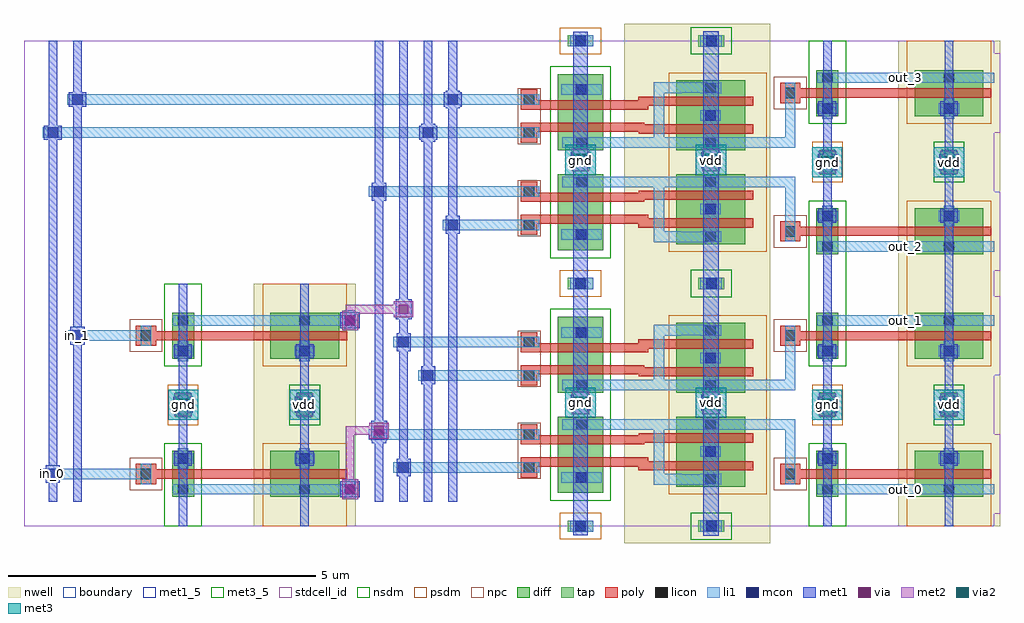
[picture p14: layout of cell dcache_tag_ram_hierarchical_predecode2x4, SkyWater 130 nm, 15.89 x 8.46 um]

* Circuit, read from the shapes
.subckt dcache_tag_ram_hierarchical_predecode2x4 gnd in_0 in_1 out_0 out_1 out_2 out_3 vdd
XM1 gnd in_0 dcache_tag_ram_and2_dec_2/A gnd sky130_fd_pr__nfet_01v8 w=0.36 l=0.15
XM2 dcache_tag_ram_and2_dec_2/B in_1 gnd gnd sky130_fd_pr__nfet_01v8 w=0.36 l=0.15
XM3 n1 dcache_tag_ram_and2_dec_2/B gnd gnd sky130_fd_pr__nfet_01v8 w=0.74 l=0.15
XM4 dcache_tag_ram_and2_dec_2/dcache_tag_ram_pinv_dec_1/A dcache_tag_ram_and2_dec_2/A n1 gnd sky130_fd_pr__nfet_01v8 w=0.74 l=0.15
XM5 n2 in_0 dcache_tag_ram_and2_dec_3/dcache_tag_ram_pinv_dec_1/A gnd sky130_fd_pr__nfet_01v8 w=0.74 l=0.15
XM6 gnd dcache_tag_ram_and2_dec_2/B n2 gnd sky130_fd_pr__nfet_01v8 w=0.74 l=0.15
XM7 n3 in_1 gnd gnd sky130_fd_pr__nfet_01v8 w=0.74 l=0.15
XM8 dcache_tag_ram_and2_dec_4/dcache_tag_ram_pinv_dec_1/A dcache_tag_ram_and2_dec_2/A n3 gnd sky130_fd_pr__nfet_01v8 w=0.74 l=0.15
XM9 n4 in_0 dcache_tag_ram_and2_dec_5/dcache_tag_ram_pinv_dec_1/A gnd sky130_fd_pr__nfet_01v8 w=0.74 l=0.15
XM10 gnd in_1 n4 gnd sky130_fd_pr__nfet_01v8 w=0.74 l=0.15
XM11 gnd dcache_tag_ram_and2_dec_2/dcache_tag_ram_pinv_dec_1/A out_0 gnd sky130_fd_pr__nfet_01v8 w=0.36 l=0.15
XM12 out_1 dcache_tag_ram_and2_dec_3/dcache_tag_ram_pinv_dec_1/A gnd gnd sky130_fd_pr__nfet_01v8 w=0.36 l=0.15
XM13 gnd dcache_tag_ram_and2_dec_4/dcache_tag_ram_pinv_dec_1/A out_2 gnd sky130_fd_pr__nfet_01v8 w=0.36 l=0.15
XM14 out_3 dcache_tag_ram_and2_dec_5/dcache_tag_ram_pinv_dec_1/A gnd gnd sky130_fd_pr__nfet_01v8 w=0.36 l=0.15
XM15 vdd in_0 dcache_tag_ram_and2_dec_2/A vdd sky130_fd_pr__pfet_01v8 w=1.12 l=0.15
XM16 dcache_tag_ram_and2_dec_2/B in_1 vdd vdd sky130_fd_pr__pfet_01v8 w=1.12 l=0.15
XM17 vdd dcache_tag_ram_and2_dec_2/B dcache_tag_ram_and2_dec_2/dcache_tag_ram_pinv_dec_1/A vdd sky130_fd_pr__pfet_01v8 w=1.12 l=0.15
XM18 dcache_tag_ram_and2_dec_2/dcache_tag_ram_pinv_dec_1/A dcache_tag_ram_and2_dec_2/A vdd vdd sky130_fd_pr__pfet_01v8 w=1.12 l=0.15
XM19 vdd in_0 dcache_tag_ram_and2_dec_3/dcache_tag_ram_pinv_dec_1/A vdd sky130_fd_pr__pfet_01v8 w=1.12 l=0.15
XM20 dcache_tag_ram_and2_dec_3/dcache_tag_ram_pinv_dec_1/A dcache_tag_ram_and2_dec_2/B vdd vdd sky130_fd_pr__pfet_01v8 w=1.12 l=0.15
XM21 vdd in_1 dcache_tag_ram_and2_dec_4/dcache_tag_ram_pinv_dec_1/A vdd sky130_fd_pr__pfet_01v8 w=1.12 l=0.15
XM22 dcache_tag_ram_and2_dec_4/dcache_tag_ram_pinv_dec_1/A dcache_tag_ram_and2_dec_2/A vdd vdd sky130_fd_pr__pfet_01v8 w=1.12 l=0.15
XM23 vdd in_0 dcache_tag_ram_and2_dec_5/dcache_tag_ram_pinv_dec_1/A vdd sky130_fd_pr__pfet_01v8 w=1.12 l=0.15
XM24 dcache_tag_ram_and2_dec_5/dcache_tag_ram_pinv_dec_1/A in_1 vdd vdd sky130_fd_pr__pfet_01v8 w=1.12 l=0.15
XM25 vdd dcache_tag_ram_and2_dec_2/dcache_tag_ram_pinv_dec_1/A out_0 vdd sky130_fd_pr__pfet_01v8 w=1.12 l=0.15
XM26 out_1 dcache_tag_ram_and2_dec_3/dcache_tag_ram_pinv_dec_1/A vdd vdd sky130_fd_pr__pfet_01v8 w=1.12 l=0.15
XM27 vdd dcache_tag_ram_and2_dec_4/dcache_tag_ram_pinv_dec_1/A out_2 vdd sky130_fd_pr__pfet_01v8 w=1.12 l=0.15
XM28 out_3 dcache_tag_ram_and2_dec_5/dcache_tag_ram_pinv_dec_1/A vdd vdd sky130_fd_pr__pfet_01v8 w=1.12 l=0.15
.ends

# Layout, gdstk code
from math import pi, radians
import gdstk
lib = gdstk.Library(unit=1e-6, precision=1e-09)
def R(c, l, rs):  # rectangles x0, y0, x1, y1
    for r in rs: c.add(gdstk.rectangle(r[:2], r[2:], *l))
def A(c, l, x, y, w, h, nx, ny, dx, dy):  # array of equal rectangles
    R(c, l, [(x+i*dx, y+j*dy, x+i*dx+w, y+j*dy+h) for i in range(nx) for j in range(ny)])
nwell = (64, 20)
diff = (65, 20)
tap = (65, 44)
poly = (66, 20)
licon = (66, 44)
li1 = (67, 20)
mcon = (67, 44)
met1_5 = (68, 5)
met1 = (68, 20)
via = (68, 44)
met2 = (69, 20)
via2 = (69, 44)
met3_5 = (70, 5)
met3 = (70, 20)
stdcell_id = (81, 4)
nsdm = (93, 44)
psdm = (94, 20)
npc = (95, 20)
boundary = (235, 4)

dcache_tag_ram_contact_1 = lib.new_cell('dcache_tag_ram_contact_11')
R(dcache_tag_ram_contact_1, nwell, [(-0.295,-0.255,0.545,0.585)])
R(dcache_tag_ram_contact_1, diff, [(0,0.02,0.25,0.31)])
R(dcache_tag_ram_contact_1, licon, [(0.04,0.08,0.21,0.25)])
R(dcache_tag_ram_contact_1, li1, [(0.04,0,0.21,0.33)])
R(dcache_tag_ram_contact_1, stdcell_id, [(-0.295,-0.255,0.545,0.585)])
R(dcache_tag_ram_contact_1, psdm, [(-0.125,-0.105,0.375,0.435)])
R(dcache_tag_ram_contact_1, boundary, [(-0.295,-0.255,0.545,0.585)])

dcache_tag_ram_pmos_m1_w = lib.new_cell('dcache_tag_ram_pmos_m1_w1_120_sli_dli_da_p')
R(dcache_tag_ram_pmos_m1_w, nwell, [(-0.27,-0.27,1.02,1.39)])
R(dcache_tag_ram_pmos_m1_w, diff, [(0,0,0.75,1.12)])
R(dcache_tag_ram_pmos_m1_w, poly, [(0.3,-0.13,0.45,1.25), (0.3,-0.13,0.45,1.25)])
R(dcache_tag_ram_pmos_m1_w, li1, [(0.04,0.395,0.21,0.725), (0.54,0.395,0.71,0.725)])
R(dcache_tag_ram_pmos_m1_w, stdcell_id, [(-0.27,-0.27,1.02,1.39)])
R(dcache_tag_ram_pmos_m1_w, psdm, [(-0.125,-0.125,0.875,1.245)])
R(dcache_tag_ram_pmos_m1_w, boundary, [(-0.27,-0.27,1.02,1.39)])
dcache_tag_ram_pmos_m1_w.add(gdstk.Reference(dcache_tag_ram_contact_1, (0,0.395)))
dcache_tag_ram_pmos_m1_w.add(gdstk.Reference(dcache_tag_ram_contact_1, (0.5,0.395)))
dcache_tag_ram_pmos_m1_w.add(gdstk.Label('G', (0.375,0.56), layer=66, texttype=5))
dcache_tag_ram_pmos_m1_w.add(gdstk.Label('S', (0.125,0.56), layer=67, texttype=5))
dcache_tag_ram_pmos_m1_w.add(gdstk.Label('D', (0.625,0.56), layer=67, texttype=5))

c_dcache_tag_ram_contact_1 = lib.new_cell('dcache_tag_ram_contact_10')
R(c_dcache_tag_ram_contact_1, diff, [(0,0.02,0.25,0.31)])
R(c_dcache_tag_ram_contact_1, licon, [(0.04,0.08,0.21,0.25)])
R(c_dcache_tag_ram_contact_1, li1, [(0.04,0,0.21,0.33)])
R(c_dcache_tag_ram_contact_1, stdcell_id, [(-0.125,-0.105,0.375,0.435)])
R(c_dcache_tag_ram_contact_1, nsdm, [(-0.125,-0.105,0.375,0.435)])
R(c_dcache_tag_ram_contact_1, boundary, [(-0.125,-0.105,0.375,0.435)])

dcache_tag_ram_nmos_m1_w = lib.new_cell('dcache_tag_ram_nmos_m1_w0_360_sli_dli_da_p')
R(dcache_tag_ram_nmos_m1_w, diff, [(0,0,0.75,0.36)])
R(dcache_tag_ram_nmos_m1_w, poly, [(0.3,-0.13,0.45,0.49), (0.3,-0.13,0.45,0.49)])
R(dcache_tag_ram_nmos_m1_w, li1, [(0.04,0.015,0.21,0.345), (0.54,0.015,0.71,0.345)])
R(dcache_tag_ram_nmos_m1_w, stdcell_id, [(-0.125,-0.13,0.875,0.49)])
R(dcache_tag_ram_nmos_m1_w, nsdm, [(-0.125,-0.125,0.875,0.485)])
R(dcache_tag_ram_nmos_m1_w, boundary, [(-0.125,-0.13,0.875,0.49)])
dcache_tag_ram_nmos_m1_w.add(gdstk.Reference(c_dcache_tag_ram_contact_1, (0,0.015)))
dcache_tag_ram_nmos_m1_w.add(gdstk.Reference(c_dcache_tag_ram_contact_1, (0.5,0.015)))
dcache_tag_ram_nmos_m1_w.add(gdstk.Label('G', (0.375,0.18), layer=66, texttype=5))
dcache_tag_ram_nmos_m1_w.add(gdstk.Label('S', (0.125,0.18), layer=67, texttype=5))
dcache_tag_ram_nmos_m1_w.add(gdstk.Label('D', (0.625,0.18), layer=67, texttype=5))

c_dcache_tag_ram_contact_1_ = lib.new_cell('dcache_tag_ram_contact_12')
R(c_dcache_tag_ram_contact_1_, nwell, [(-0.295,-0.215,0.545,0.625)])
R(c_dcache_tag_ram_contact_1_, tap, [(0,0,0.25,0.41)])
R(c_dcache_tag_ram_contact_1_, licon, [(0.04,0.12,0.21,0.29)])
R(c_dcache_tag_ram_contact_1_, li1, [(0.04,0.04,0.21,0.37)])
R(c_dcache_tag_ram_contact_1_, stdcell_id, [(-0.295,-0.215,0.545,0.625)])
R(c_dcache_tag_ram_contact_1_, nsdm, [(-0.125,-0.125,0.375,0.535)])
R(c_dcache_tag_ram_contact_1_, boundary, [(-0.295,-0.215,0.545,0.625)])

c_dcache_tag_ram_contact_1__ = lib.new_cell('dcache_tag_ram_contact_13')
R(c_dcache_tag_ram_contact_1__, li1, [(0.06,0,0.23,0.33)])
R(c_dcache_tag_ram_contact_1__, mcon, [(0.06,0.08,0.23,0.25)])
R(c_dcache_tag_ram_contact_1__, met1, [(0,0.05,0.29,0.28)])
R(c_dcache_tag_ram_contact_1__, stdcell_id, [(0,0,0.29,0.33)])
R(c_dcache_tag_ram_contact_1__, boundary, [(0,0,0.29,0.33)])

c_dcache_tag_ram_contact_1___ = lib.new_cell('dcache_tag_ram_contact_14')
R(c_dcache_tag_ram_contact_1___, tap, [(0,0,0.25,0.41)])
R(c_dcache_tag_ram_contact_1___, licon, [(0.04,0.12,0.21,0.29)])
R(c_dcache_tag_ram_contact_1___, li1, [(0.04,0.04,0.21,0.37)])
R(c_dcache_tag_ram_contact_1___, stdcell_id, [(-0.125,-0.125,0.375,0.535)])
R(c_dcache_tag_ram_contact_1___, psdm, [(-0.125,-0.125,0.375,0.535)])
R(c_dcache_tag_ram_contact_1___, boundary, [(-0.125,-0.125,0.375,0.535)])

c_dcache_tag_ram_contact_1____ = lib.new_cell('dcache_tag_ram_contact_15')
R(c_dcache_tag_ram_contact_1____, poly, [(0,0,0.33,0.33)])
R(c_dcache_tag_ram_contact_1____, licon, [(0.08,0.08,0.25,0.25)])
R(c_dcache_tag_ram_contact_1____, li1, [(0.08,0,0.25,0.33)])
R(c_dcache_tag_ram_contact_1____, stdcell_id, [(-0.1,-0.1,0.43,0.43)])
R(c_dcache_tag_ram_contact_1____, npc, [(-0.1,-0.1,0.43,0.43)])
R(c_dcache_tag_ram_contact_1____, boundary, [(-0.1,-0.1,0.43,0.43)])

dcache_tag_ram_pinv_dec = lib.new_cell('dcache_tag_ram_pinv_dec')
R(dcache_tag_ram_pinv_dec, nwell, [(2.14,0,3.8,2.45)])
R(dcache_tag_ram_pinv_dec, poly, [(0.385,0.775,0.68,0.925), (1.3,0.775,2.28,0.925)])
R(dcache_tag_ram_pinv_dec, li1, [(0.825,0.515,3.71,0.685), (0.3,0.685,0.47,1.015)])
R(dcache_tag_ram_pinv_dec, met1_5, [(0.92,0,1.06,1.975), (2.9,0,3.04,1.975)])
R(dcache_tag_ram_pinv_dec, met1, [(0.92,0,1.06,1.975), (2.9,0,3.04,1.975)])
R(dcache_tag_ram_pinv_dec, stdcell_id, [(0,0,3.71,1.975), (0,0,3.71,1.975)])
R(dcache_tag_ram_pinv_dec, nsdm, [(0.685,0,1.295,1.225)])
R(dcache_tag_ram_pinv_dec, psdm, [(2.285,0,3.655,1.225)])
R(dcache_tag_ram_pinv_dec, boundary, [(0,0,3.71,1.975), (0,0,3.71,1.975)])
dcache_tag_ram_pinv_dec.add(gdstk.Reference(dcache_tag_ram_pmos_m1_w, (2.41,1.225), rotation=3*pi/2))
dcache_tag_ram_pinv_dec.add(gdstk.Reference(dcache_tag_ram_nmos_m1_w, (0.81,1.225), rotation=3*pi/2))
dcache_tag_ram_pinv_dec.add(gdstk.Reference(c_dcache_tag_ram_contact_1_, (2.845,1.77)))
dcache_tag_ram_pinv_dec.add(gdstk.Reference(c_dcache_tag_ram_contact_1__, (2.825,1.81)))
dcache_tag_ram_pinv_dec.add(gdstk.Reference(c_dcache_tag_ram_contact_1___, (0.865,1.77)))
dcache_tag_ram_pinv_dec.add(gdstk.Reference(c_dcache_tag_ram_contact_1__, (0.845,1.81)))
dcache_tag_ram_pinv_dec.add(gdstk.Reference(c_dcache_tag_ram_contact_1____, (0.22,0.685)))
dcache_tag_ram_pinv_dec.add(gdstk.Reference(c_dcache_tag_ram_contact_1__, (0.845,0.935)))
dcache_tag_ram_pinv_dec.add(gdstk.Reference(c_dcache_tag_ram_contact_1__, (2.825,0.935)))
dcache_tag_ram_pinv_dec.add(gdstk.Label('A', (0.385,0.85), layer=67, texttype=5))
dcache_tag_ram_pinv_dec.add(gdstk.Label('Z', (2.268,0.6), layer=67, texttype=5))
dcache_tag_ram_pinv_dec.add(gdstk.Label('gnd', (0.99,0.988), layer=68, texttype=5))
dcache_tag_ram_pinv_dec.add(gdstk.Label('vdd', (2.97,0.988), layer=68, texttype=5))

sky130_fd_bd_sram__openr = lib.new_cell('sky130_fd_bd_sram__openram_dp_nand2_dec')
R(sky130_fd_bd_sram__openr, nwell, [(2.06,-0.28,4.44,2.38)])
R(sky130_fd_bd_sram__openr, diff, [(0.98,0.54,1.72,1.78), (2.91,0.64,4.03,1.78)])
R(sky130_fd_bd_sram__openr, tap, [(3.27,-0.095,3.69,0.095), (1.14,-0.09,1.56,0.09)])
R(sky130_fd_bd_sram__openr, poly, [(0.38,0.79,0.65,0.97), (2.29,0.91,4.16,0.97), (0.38,0.97,4.16,1.06), (0.38,1.06,2.45,1.12), (0.38,1.33,2.39,1.36), (0.38,1.36,4.16,1.48), (0.38,1.48,0.65,1.66), (2.3,1.48,4.16,1.51)])
R(sky130_fd_bd_sram__openr, licon, [(1.265,-0.085,1.435,0.085), (3.395,-0.085,3.565,0.085), (3.385,0.68,3.555,0.85), (1.295,0.71,1.465,0.88), (0.43,0.87,0.6,1.04), (3.385,1.13,3.555,1.3), (0.43,1.41,0.6,1.58), (1.285,1.57,1.455,1.74), (3.385,1.57,3.555,1.74)])
R(sky130_fd_bd_sram__openr, li1, [(3.3,-0.095,3.65,0.095), (1.18,-0.09,1.56,0.09), (2.545,0.67,2.86,0.675), (2.545,0.675,3.425,0.68), (2.545,0.68,3.64,0.845), (1.04,0.71,1.7,0.88), (2.545,0.845,2.99,0.85), (3.3,0.845,3.64,0.85), (2.545,0.85,2.715,1.57), (0.35,0.87,0.68,1.04), (0.35,0.87,0.68,1.04), (3.3,1.13,3.635,1.3), (0.35,1.41,0.68,1.58), (0.35,1.41,0.68,1.58), (1.05,1.57,4.44,1.74), (1.05,1.57,4.44,1.74)])
R(sky130_fd_bd_sram__openr, mcon, [(1.265,-0.085,1.435,0.085), (3.395,-0.085,3.565,0.085), (1.27,0.71,1.44,0.88), (3.385,1.13,3.555,1.3)])
R(sky130_fd_bd_sram__openr, met1_5, [(3.35,-0.16,3.6,2.01), (1.23,-0.15,1.47,2.01)])
R(sky130_fd_bd_sram__openr, met1, [(3.35,-0.16,3.6,2.01), (3.35,-0.16,3.6,2.01), (1.23,-0.15,1.47,2.01), (1.23,-0.15,1.47,2.01)])
R(sky130_fd_bd_sram__openr, nsdm, [(3.145,-0.22,3.815,0.22), (0.855,0.415,1.845,1.975)])
R(sky130_fd_bd_sram__openr, psdm, [(1.015,-0.215,1.685,0.215), (2.785,0.515,4.38,1.975)])
R(sky130_fd_bd_sram__openr, npc, [(0.33,0.77,0.7,1.68)])
R(sky130_fd_bd_sram__openr, boundary, [(0,0,4.38,1.975)])
sky130_fd_bd_sram__openr.add(gdstk.Label('GND', (1.34,0.41), layer=68, texttype=16))
sky130_fd_bd_sram__openr.add(gdstk.Label('VDD', (3.48,0.47), layer=68, texttype=16))
sky130_fd_bd_sram__openr.add(gdstk.Label('B', (0.515,0.955), layer=67, texttype=16))
sky130_fd_bd_sram__openr.add(gdstk.Label('A', (0.515,1.495), layer=67, texttype=16))
sky130_fd_bd_sram__openr.add(gdstk.Label('Z', (4.27,1.655), layer=67, texttype=16))
sky130_fd_bd_sram__openr.add(gdstk.Label('A', (0.515,1.495), layer=67, texttype=5))
sky130_fd_bd_sram__openr.add(gdstk.Label('B', (0.515,0.955), layer=67, texttype=5))
sky130_fd_bd_sram__openr.add(gdstk.Label('Z', (2.745,1.655), layer=67, texttype=5))
sky130_fd_bd_sram__openr.add(gdstk.Label('vdd', (3.475,0.925), layer=68, texttype=5))
sky130_fd_bd_sram__openr.add(gdstk.Label('gnd', (1.35,0.93), layer=68, texttype=5))

dcache_tag_ram_and2_dec = lib.new_cell('dcache_tag_ram_and2_dec')
R(dcache_tag_ram_and2_dec, li1, [(5.205,0.515,8.09,0.685), (4.68,0.85,4.85,1.655), (0.35,0.87,0.68,1.04), (0.35,1.41,0.68,1.58), (2.745,1.57,4.765,1.74), (4.68,1.57,4.85,1.74)])
R(dcache_tag_ram_and2_dec, met1_5, [(3.35,-0.16,3.6,2.01), (1.23,-0.15,1.47,2.01), (5.3,0,5.44,1.975), (7.28,0,7.42,1.975)])
R(dcache_tag_ram_and2_dec, met1, [(3.35,-0.16,3.6,2.01), (1.23,-0.15,1.47,2.01), (5.3,0,5.44,1.975), (7.28,0,7.42,1.975)])
R(dcache_tag_ram_and2_dec, stdcell_id, [(0,0,8.09,1.975)])
R(dcache_tag_ram_and2_dec, boundary, [(0,0,8.09,1.975)])
dcache_tag_ram_and2_dec.add(gdstk.Reference(sky130_fd_bd_sram__openr, (0,0)))
dcache_tag_ram_and2_dec.add(gdstk.Reference(dcache_tag_ram_pinv_dec, (4.38,0)))
dcache_tag_ram_and2_dec.add(gdstk.Label('Z', (6.648,0.6), layer=67, texttype=5))
dcache_tag_ram_and2_dec.add(gdstk.Label('A', (0.515,1.495), layer=67, texttype=5))
dcache_tag_ram_and2_dec.add(gdstk.Label('B', (0.515,0.955), layer=67, texttype=5))
dcache_tag_ram_and2_dec.add(gdstk.Label('vdd', (7.35,0.988), layer=68, texttype=5))
dcache_tag_ram_and2_dec.add(gdstk.Label('vdd', (3.475,0.925), layer=68, texttype=5))
dcache_tag_ram_and2_dec.add(gdstk.Label('gnd', (1.35,0.93), layer=68, texttype=5))
dcache_tag_ram_and2_dec.add(gdstk.Label('gnd', (5.37,0.988), layer=68, texttype=5))

c_dcache_tag_ram_contact_1_____ = lib.new_cell('dcache_tag_ram_contact_16')
R(c_dcache_tag_ram_contact_1_____, li1, [(0,0.06,0.33,0.23)])
R(c_dcache_tag_ram_contact_1_____, mcon, [(0.08,0.06,0.25,0.23)])
R(c_dcache_tag_ram_contact_1_____, met1, [(0.05,0,0.28,0.29)])
R(c_dcache_tag_ram_contact_1_____, stdcell_id, [(0,0,0.33,0.29)])
R(c_dcache_tag_ram_contact_1_____, boundary, [(0,0,0.33,0.29)])

c_dcache_tag_ram_contact_1______ = lib.new_cell('dcache_tag_ram_contact_18')
R(c_dcache_tag_ram_contact_1______, met1, [(0,0.03,0.32,0.29)])
R(c_dcache_tag_ram_contact_1______, via, [(0.085,0.085,0.235,0.235)])
R(c_dcache_tag_ram_contact_1______, met2, [(0.03,0,0.29,0.32)])
R(c_dcache_tag_ram_contact_1______, stdcell_id, [(0,0,0.32,0.32)])
R(c_dcache_tag_ram_contact_1______, boundary, [(0,0,0.32,0.32)])

c_dcache_tag_ram_contact_1_______ = lib.new_cell('dcache_tag_ram_contact_19')
R(c_dcache_tag_ram_contact_1_______, met1, [(0.03,0,0.29,0.32)])
R(c_dcache_tag_ram_contact_1_______, via, [(0.085,0.085,0.235,0.235)])
R(c_dcache_tag_ram_contact_1_______, met2, [(0,0.03,0.32,0.29)])
R(c_dcache_tag_ram_contact_1_______, stdcell_id, [(0,0,0.32,0.32)])
R(c_dcache_tag_ram_contact_1_______, boundary, [(0,0,0.32,0.32)])

dcache_tag_ram_contact_2 = lib.new_cell('dcache_tag_ram_contact_20')
R(dcache_tag_ram_contact_2, li1, [(0,0.03,0.33,0.2)])
R(dcache_tag_ram_contact_2, mcon, [(0.08,0.03,0.25,0.2)])
R(dcache_tag_ram_contact_2, met1, [(0.02,0,0.31,0.23)])
R(dcache_tag_ram_contact_2, stdcell_id, [(0,0,0.33,0.23)])
R(dcache_tag_ram_contact_2, boundary, [(0,0,0.33,0.23)])

c_dcache_tag_ram_contact_2 = lib.new_cell('dcache_tag_ram_contact_21')
R(c_dcache_tag_ram_contact_2, met2, [(0.025,0,0.305,0.37)])
R(c_dcache_tag_ram_contact_2, via2, [(0.065,0.085,0.265,0.285)])
R(c_dcache_tag_ram_contact_2, met3, [(0,0.02,0.33,0.35)])
R(c_dcache_tag_ram_contact_2, stdcell_id, [(0,0,0.33,0.37)])
R(c_dcache_tag_ram_contact_2, boundary, [(0,0,0.33,0.37)])

dcache_tag_ram_hierarchi = lib.new_cell('dcache_tag_ram_hierarchical_predecode2x4')
R(dcache_tag_ram_hierarchi, li1, [(12.915,0.515,15.8,0.685), (0.47,0.765,1.985,0.935), (1.9,0.765,2.07,0.935), (6.18,0.87,8.225,1.04), (8.14,0.87,8.31,1.04), (5.78,1.41,8.225,1.58), (8.14,1.41,8.31,1.58), (6.58,2.37,8.225,2.54), (8.14,2.37,8.31,2.54), (6.18,2.91,8.225,3.08), (8.14,2.91,8.31,3.08), (0.87,3.015,1.985,3.185), (1.9,3.015,2.07,3.185), (12.915,3.265,15.8,3.435), (12.915,4.465,15.8,4.635), (6.98,4.82,8.225,4.99), (8.14,4.82,8.31,4.99), (5.78,5.36,8.225,5.53), (8.14,5.36,8.31,5.53), (0.47,6.32,6.58,6.49), (6.58,6.32,8.225,6.49), (8.14,6.32,8.31,6.49), (0.87,6.86,6.98,7.03), (6.98,6.86,8.225,7.03), (8.14,6.86,8.31,7.03), (12.915,7.215,15.8,7.385)])
R(dcache_tag_ram_hierarchi, met1_5, [(0.355,0.705,0.585,0.995), (0.755,2.955,0.985,3.245)])
A(dcache_tag_ram_hierarchi, met1, 5.71, 0.4, 0.14, 7.5, 4, 1, 0.4, 0)
R(dcache_tag_ram_hierarchi, met1, [(0.4,0.4,0.54,7.9), (0.8,0.4,0.94,7.9), (2.52,0.4,2.66,3.95), (4.5,0.4,4.64,3.95), (8.94,0.4,9.18,8.05), (11.06,0.4,11.31,8.06), (13.01,0.4,13.15,7.9), (14.99,0.4,15.13,7.9), (5.15,0.47,5.47,0.73), (0.355,0.705,0.585,0.995), (0.755,2.955,0.985,3.245), (5.15,3.22,5.47,3.48)])
R(dcache_tag_ram_hierarchi, met2, [(5.24,0.6,5.38,1.555), (5.24,1.485,5.38,1.625), (5.31,1.485,5.78,1.625), (2.45,1.85,2.73,2.095), (2.45,1.85,2.73,2.095), (4.43,1.85,4.71,2.095), (4.43,1.85,4.71,2.095), (12.94,1.85,13.22,2.095), (14.92,1.85,15.2,2.095), (8.92,1.89,9.2,2.135), (11.045,1.89,11.325,2.135), (5.24,3.35,5.38,3.53), (5.24,3.46,5.38,3.6), (5.31,3.46,6.18,3.6), (12.94,5.8,13.22,6.045), (14.92,5.8,15.2,6.045), (8.92,5.84,9.2,6.085), (11.045,5.84,11.325,6.085)])
R(dcache_tag_ram_hierarchi, met3_5, [(2.345,1.73,2.835,2.22), (4.325,1.73,4.815,2.22), (12.835,1.73,13.325,2.22), (14.815,1.73,15.305,2.22), (8.815,1.765,9.305,2.255), (10.94,1.765,11.43,2.255), (12.835,5.68,13.325,6.17), (14.815,5.68,15.305,6.17), (8.815,5.715,9.305,6.205), (10.94,5.715,11.43,6.205)])
R(dcache_tag_ram_hierarchi, met3, [(2.345,1.73,2.835,2.22), (4.325,1.73,4.815,2.22), (12.835,1.73,13.325,2.22), (14.815,1.73,15.305,2.22), (8.815,1.765,9.305,2.255), (10.94,1.765,11.43,2.255), (12.835,5.68,13.325,6.17), (14.815,5.68,15.305,6.17), (8.815,5.715,9.305,6.205), (10.94,5.715,11.43,6.205)])
R(dcache_tag_ram_hierarchi, stdcell_id, [(0,0,15.8,7.9)])
R(dcache_tag_ram_hierarchi, boundary, [(0,0,15.8,7.9)])
dcache_tag_ram_hierarchi.add(gdstk.Reference(dcache_tag_ram_pinv_dec, (1.6,0)))
dcache_tag_ram_hierarchi.add(gdstk.Reference(dcache_tag_ram_pinv_dec, (1.6,3.95), x_reflection=True))
dcache_tag_ram_hierarchi.add(gdstk.Reference(dcache_tag_ram_and2_dec, (7.71,0)))
dcache_tag_ram_hierarchi.add(gdstk.Reference(dcache_tag_ram_and2_dec, (7.71,3.95), x_reflection=True))
dcache_tag_ram_hierarchi.add(gdstk.Reference(dcache_tag_ram_and2_dec, (7.71,3.95)))
dcache_tag_ram_hierarchi.add(gdstk.Reference(dcache_tag_ram_and2_dec, (7.71,7.9), x_reflection=True))
dcache_tag_ram_hierarchi.add(gdstk.Reference(c_dcache_tag_ram_contact_1_____, (0.305,0.705)))
dcache_tag_ram_hierarchi.add(gdstk.Reference(c_dcache_tag_ram_contact_1_____, (0.705,2.955)))
dcache_tag_ram_hierarchi.add(gdstk.Reference(c_dcache_tag_ram_contact_1_____, (5.615,1.35)))
dcache_tag_ram_hierarchi.add(gdstk.Reference(c_dcache_tag_ram_contact_1_____, (6.015,0.81)))
dcache_tag_ram_hierarchi.add(gdstk.Reference(c_dcache_tag_ram_contact_1_____, (6.415,2.31)))
dcache_tag_ram_hierarchi.add(gdstk.Reference(c_dcache_tag_ram_contact_1_____, (6.015,2.85)))
dcache_tag_ram_hierarchi.add(gdstk.Reference(c_dcache_tag_ram_contact_1_____, (5.615,5.3)))
dcache_tag_ram_hierarchi.add(gdstk.Reference(c_dcache_tag_ram_contact_1_____, (6.815,4.76)))
dcache_tag_ram_hierarchi.add(gdstk.Reference(c_dcache_tag_ram_contact_1_____, (6.415,6.26)))
dcache_tag_ram_hierarchi.add(gdstk.Reference(c_dcache_tag_ram_contact_1_____, (6.815,6.8)))
dcache_tag_ram_hierarchi.add(gdstk.Reference(c_dcache_tag_ram_contact_1__, (5.165,0.435)))
dcache_tag_ram_hierarchi.add(gdstk.Reference(c_dcache_tag_ram_contact_1______, (5.15,0.44)))
dcache_tag_ram_hierarchi.add(gdstk.Reference(c_dcache_tag_ram_contact_1_______, (5.62,1.395)))
dcache_tag_ram_hierarchi.add(gdstk.Reference(c_dcache_tag_ram_contact_1__, (5.165,3.185)))
dcache_tag_ram_hierarchi.add(gdstk.Reference(c_dcache_tag_ram_contact_1______, (5.15,3.19)))
dcache_tag_ram_hierarchi.add(gdstk.Reference(c_dcache_tag_ram_contact_1_______, (6.02,3.37)))
dcache_tag_ram_hierarchi.add(gdstk.Reference(dcache_tag_ram_contact_2, (0.305,6.29)))
dcache_tag_ram_hierarchi.add(gdstk.Reference(dcache_tag_ram_contact_2, (6.415,6.29)))
dcache_tag_ram_hierarchi.add(gdstk.Reference(dcache_tag_ram_contact_2, (0.705,6.83)))
dcache_tag_ram_hierarchi.add(gdstk.Reference(dcache_tag_ram_contact_2, (6.815,6.83)))
dcache_tag_ram_hierarchi.add(gdstk.Reference(c_dcache_tag_ram_contact_1______, (4.41,1.815)))
dcache_tag_ram_hierarchi.add(gdstk.Reference(c_dcache_tag_ram_contact_2, (4.405,1.79)))
dcache_tag_ram_hierarchi.add(gdstk.Reference(c_dcache_tag_ram_contact_1______, (4.41,1.815)))
dcache_tag_ram_hierarchi.add(gdstk.Reference(c_dcache_tag_ram_contact_2, (4.405,1.79)))
dcache_tag_ram_hierarchi.add(gdstk.Reference(c_dcache_tag_ram_contact_1______, (14.9,1.815)))
dcache_tag_ram_hierarchi.add(gdstk.Reference(c_dcache_tag_ram_contact_2, (14.895,1.79)))
dcache_tag_ram_hierarchi.add(gdstk.Reference(c_dcache_tag_ram_contact_1______, (11.025,1.85)))
dcache_tag_ram_hierarchi.add(gdstk.Reference(c_dcache_tag_ram_contact_2, (11.02,1.825)))
dcache_tag_ram_hierarchi.add(gdstk.Reference(c_dcache_tag_ram_contact_1______, (14.9,5.765)))
dcache_tag_ram_hierarchi.add(gdstk.Reference(c_dcache_tag_ram_contact_2, (14.895,5.74)))
dcache_tag_ram_hierarchi.add(gdstk.Reference(c_dcache_tag_ram_contact_1______, (11.025,5.8)))
dcache_tag_ram_hierarchi.add(gdstk.Reference(c_dcache_tag_ram_contact_2, (11.02,5.775)))
dcache_tag_ram_hierarchi.add(gdstk.Reference(c_dcache_tag_ram_contact_1______, (2.43,1.815)))
dcache_tag_ram_hierarchi.add(gdstk.Reference(c_dcache_tag_ram_contact_2, (2.425,1.79)))
dcache_tag_ram_hierarchi.add(gdstk.Reference(c_dcache_tag_ram_contact_1______, (2.43,1.815)))
dcache_tag_ram_hierarchi.add(gdstk.Reference(c_dcache_tag_ram_contact_2, (2.425,1.79)))
dcache_tag_ram_hierarchi.add(gdstk.Reference(c_dcache_tag_ram_contact_1______, (8.9,1.85)))
dcache_tag_ram_hierarchi.add(gdstk.Reference(c_dcache_tag_ram_contact_2, (8.895,1.825)))
dcache_tag_ram_hierarchi.add(gdstk.Reference(c_dcache_tag_ram_contact_1______, (12.92,1.815)))
dcache_tag_ram_hierarchi.add(gdstk.Reference(c_dcache_tag_ram_contact_2, (12.915,1.79)))
dcache_tag_ram_hierarchi.add(gdstk.Reference(c_dcache_tag_ram_contact_1______, (8.9,5.8)))
dcache_tag_ram_hierarchi.add(gdstk.Reference(c_dcache_tag_ram_contact_2, (8.895,5.775)))
dcache_tag_ram_hierarchi.add(gdstk.Reference(c_dcache_tag_ram_contact_1______, (12.92,5.765)))
dcache_tag_ram_hierarchi.add(gdstk.Reference(c_dcache_tag_ram_contact_2, (12.915,5.74)))
dcache_tag_ram_hierarchi.add(gdstk.Label('in_0', (0.47,0.85), layer=68, texttype=5))
dcache_tag_ram_hierarchi.add(gdstk.Label('in_1', (0.87,3.1), layer=68, texttype=5))
dcache_tag_ram_hierarchi.add(gdstk.Label('out_0', (14.358,0.6), layer=67, texttype=5))
dcache_tag_ram_hierarchi.add(gdstk.Label('out_1', (14.358,3.35), layer=67, texttype=5))
dcache_tag_ram_hierarchi.add(gdstk.Label('out_2', (14.358,4.55), layer=67, texttype=5))
dcache_tag_ram_hierarchi.add(gdstk.Label('out_3', (14.358,7.3), layer=67, texttype=5))
dcache_tag_ram_hierarchi.add(gdstk.Label('vdd', (15.06,5.925), layer=70, texttype=5))
dcache_tag_ram_hierarchi.add(gdstk.Label('vdd', (15.06,1.975), layer=70, texttype=5))
dcache_tag_ram_hierarchi.add(gdstk.Label('vdd', (4.57,1.975), layer=70, texttype=5))
dcache_tag_ram_hierarchi.add(gdstk.Label('vdd', (11.185,2.01), layer=70, texttype=5))
dcache_tag_ram_hierarchi.add(gdstk.Label('vdd', (11.185,5.96), layer=70, texttype=5))
dcache_tag_ram_hierarchi.add(gdstk.Label('gnd', (9.06,2.01), layer=70, texttype=5))
dcache_tag_ram_hierarchi.add(gdstk.Label('gnd', (13.08,1.975), layer=70, texttype=5))
dcache_tag_ram_hierarchi.add(gdstk.Label('gnd', (2.59,1.975), layer=70, texttype=5))
dcache_tag_ram_hierarchi.add(gdstk.Label('gnd', (9.06,5.96), layer=70, texttype=5))
dcache_tag_ram_hierarchi.add(gdstk.Label('gnd', (13.08,5.925), layer=70, texttype=5))

lib.write_gds('dcache_tag_ram_hierarchical_predecode2x4.gds')
